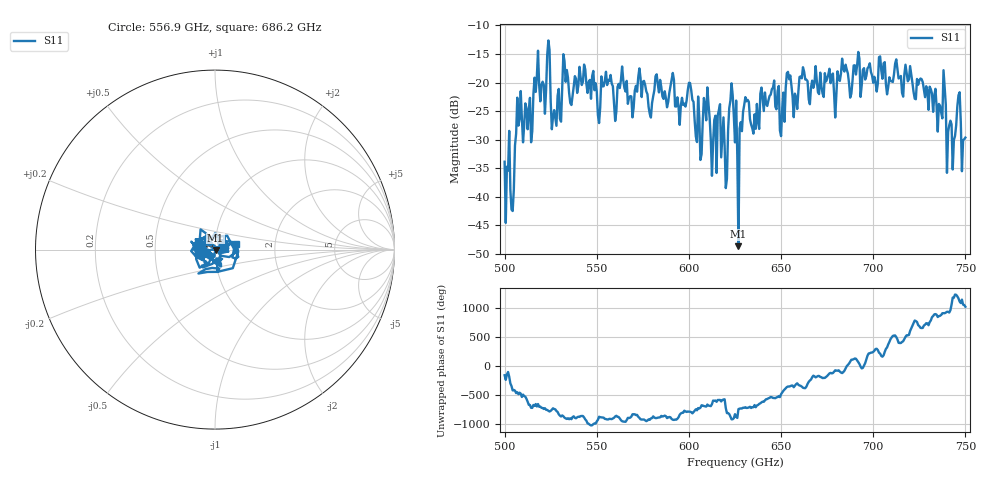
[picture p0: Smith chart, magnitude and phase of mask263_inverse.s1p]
!Created with skrf (http://scikit-rf.org).
# GHz S MA R 50.0
!freq magS11 angS11
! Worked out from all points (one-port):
!   401 points, 500 GHz to 750 GHz, reference 50 ohm
!   lowest |S11| = -48.7 dB at 626.9 GHz (marker M1), VSWR 1.01, Z = 50.3 - j0.16 ohm
!   |S11| at or under -10 dB: start of sweep to end of sweep
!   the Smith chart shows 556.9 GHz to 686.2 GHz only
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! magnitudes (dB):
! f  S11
! 500 GHz  -33.9
! 504.4 GHz  -42.5
! 507.5 GHz  -27.5
! 513.8 GHz  -22.7
! 517.5 GHz  -18.9
! 523.8 GHz  -12.6
! 526.9 GHz  -24.8
! 531.2 GHz  -21.0
! 562.5 GHz  -21.0
! 579.4 GHz  -26.1
! 590.6 GHz  -19.5
! 593.8 GHz  -22.6
! 600.6 GHz  -20.1
! 605.6 GHz  -26.2
! 609.4 GHz  -26.6
! 619.4 GHz  -31.1
! 622.5 GHz  -23.2
! 625 GHz  -30.5
! 626.9 GHz  -48.7
! 631.2 GHz  -23.3
! 635 GHz  -28.9
! 656.2 GHz  -22.6
! 687.5 GHz  -22.6
! 718.8 GHz  -19.8
! 738.1 GHz  -17.8
! 743.8 GHz  -30.1
! 746.2 GHz  -22.2
! 750 GHz  -29.6
